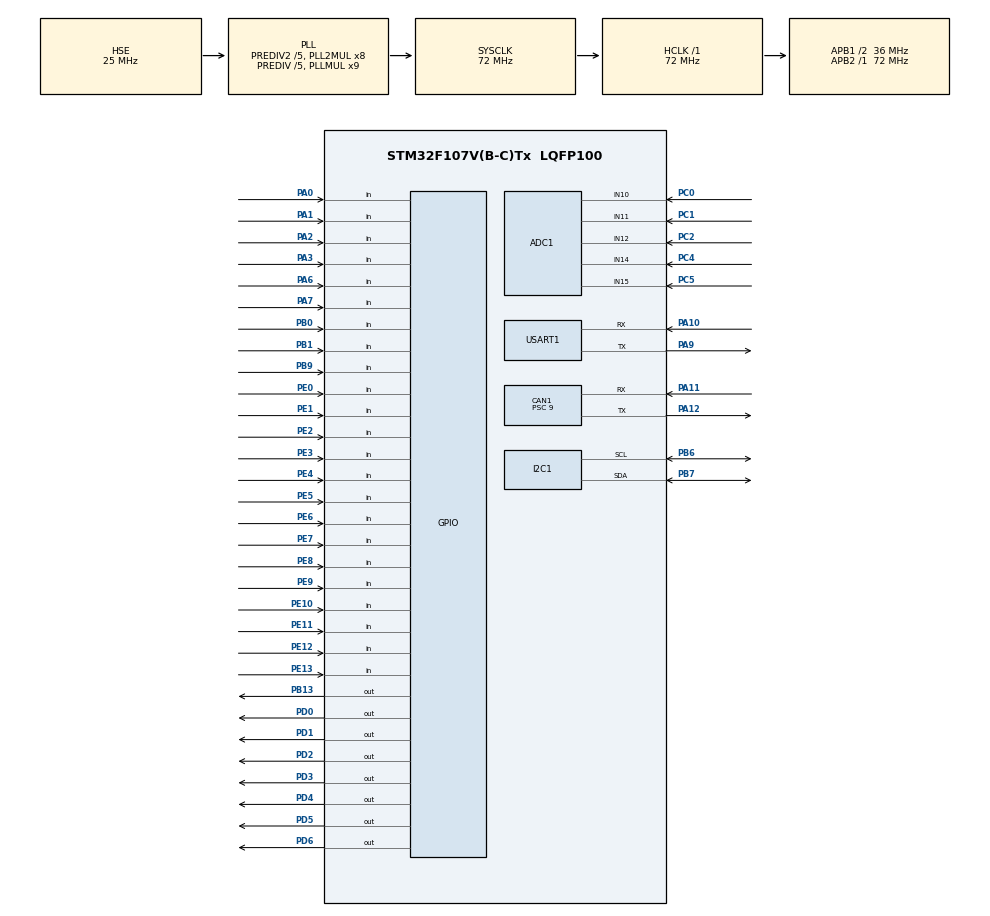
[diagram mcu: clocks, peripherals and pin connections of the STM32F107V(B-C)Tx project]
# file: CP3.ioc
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ADC1.Channel-0\#ChannelRegularConversion=ADC_CHANNEL_10
ADC1.Channel-2\#ChannelRegularConversion=ADC_CHANNEL_11
ADC1.Channel-3\#ChannelRegularConversion=ADC_CHANNEL_12
ADC1.Channel-4\#ChannelRegularConversion=ADC_CHANNEL_14
ADC1.Channel-5\#ChannelRegularConversion=ADC_CHANNEL_15
ADC1.ContinuousConvMode=ENABLE
ADC1.DiscontinuousConvMode=DISABLE
ADC1.InjNumberOfConversion=0
ADC1.NbrOfConversion=5
ADC1.NbrOfConversionFlag=1
ADC1.Rank-0\#ChannelRegularConversion=1
ADC1.Rank-2\#ChannelRegularConversion=2
ADC1.Rank-3\#ChannelRegularConversion=3
ADC1.Rank-4\#ChannelRegularConversion=4
ADC1.Rank-5\#ChannelRegularConversion=5
ADC1.SamplingTime-0\#ChannelRegularConversion=ADC_SAMPLETIME_55CYCLES_5
ADC1.SamplingTime-2\#ChannelRegularConversion=ADC_SAMPLETIME_55CYCLES_5
ADC1.SamplingTime-3\#ChannelRegularConversion=ADC_SAMPLETIME_55CYCLES_5
ADC1.SamplingTime-4\#ChannelRegularConversion=ADC_SAMPLETIME_55CYCLES_5
ADC1.SamplingTime-5\#ChannelRegularConversion=ADC_SAMPLETIME_55CYCLES_5
ADC1.master=1
CAN1.BS1=CAN_BS1_7TQ
CAN1.BS2=CAN_BS2_8TQ
CAN1.CalculateTimeBit=4000
CAN1.CalculateTimeQuantum=250.0
CAN1.NART=ENABLE
CAN1.Prescaler=9
Dma.ADC1.0.Direction=DMA_PERIPH_TO_MEMORY
Dma.ADC1.0.Instance=DMA1_Channel1
Dma.ADC1.0.MemDataAlignment=DMA_MDATAALIGN_HALFWORD
Dma.ADC1.0.MemInc=DMA_MINC_ENABLE
Dma.ADC1.0.Mode=DMA_CIRCULAR
Dma.ADC1.0.PeriphDataAlignment=DMA_PDATAALIGN_HALFWORD
Dma.ADC1.0.PeriphInc=DMA_PINC_DISABLE
Dma.ADC1.0.Priority=DMA_PRIORITY_HIGH
Dma.Request0=ADC1
FREERTOS.Tasks01=defaultTask,0,64,StartDefaultTask,Default,NULL,Dynamic,NULL,NULL;Task_CAN,3,128,CanTask,Default,NULL,Dynamic,NULL,NULL;Task_FeedDog,0,64,FeedDogTask,Default,NULL,Dynamic,NULL,NULL;Task_DataCol,3,128,DataCollectionTask,Default,NULL,Dynamic,NULL,NULL;Task_AreaCal,3,128,AreaCalTask,Default,NULL,Dynamic,NULL,NULL;Tack_WalkSpeedC,3,128,WalkSpeedControlTask,Default,NULL,Dynamic,NULL,NULL;Task_HeadSpeedC,3,128,HeadSpeedControlTask,Default,NULL,Dynamic,NULL,NULL
FREERTOS.configMINIMAL_STACK_SIZE=64
FREERTOS.configTOTAL_HEAP_SIZE=8192
FREERTOS.configUSE_TIMERS=0
IWDG.Prescaler=IWDG_PRESCALER_64
IWDG.Reload=500
Mcu.Family=STM32F1
Mcu.Name=STM32F107V(B-C)Tx
Mcu.Package=LQFP100
NVIC.CAN1_RX0_IRQn=true\:5\:0\:false\:false\:true\:true\:true\:true
NVIC.DMA1_Channel1_IRQn=true\:5\:0\:false\:false\:true\:true\:false\:true
NVIC.PriorityGroup=NVIC_PRIORITYGROUP_4
NVIC.TIM1_UP_IRQn=true\:0\:0\:false\:false\:true\:false\:false\:true
NVIC.TIM4_IRQn=true\:5\:0\:false\:false\:true\:true\:true\:true
NVIC.TimeBase=TIM1_UP_IRQn
NVIC.TimeBaseIP=TIM1
NVIC.USART1_IRQn=true\:5\:0\:false\:false\:true\:true\:true\:true
OSC_IN.Mode=HSE-External-Oscillator
OSC_IN.Signal=RCC_OSC_IN
OSC_OUT.Mode=HSE-External-Oscillator
OSC_OUT.Signal=RCC_OSC_OUT
PA0-WKUP.Signal=GPIO_Input
PA1.Signal=GPIO_Input
PA10.GPIO_PuPd=GPIO_PULLDOWN
PA10.Mode=Asynchronous
PA10.Signal=USART1_RX
PA11.Mode=Master
PA11.Signal=CAN1_RX
PA12.Mode=Master
PA12.Signal=CAN1_TX
PA13.Mode=Serial_Wire
PA13.Signal=SYS_JTMS-SWDIO
PA14.Mode=Serial_Wire
PA14.Signal=SYS_JTCK-SWCLK
PA2.Signal=GPIO_Input
PA3.Signal=GPIO_Input
PA6.Signal=GPIO_Input
PA7.Signal=GPIO_Input
PA9.Mode=Asynchronous
PA9.Signal=USART1_TX
PB0.Signal=GPIO_Input
PB1.Signal=GPIO_Input
PB13.GPIO_Speed=GPIO_SPEED_FREQ_HIGH
PB13.PinState=GPIO_PIN_RESET
PB13.Signal=GPIO_Output
PB6.Mode=I2C
PB6.Signal=I2C1_SCL
PB7.Mode=I2C
PB7.Signal=I2C1_SDA
PB9.Signal=GPIO_Input
PC0.Signal=ADCx_IN10
PC1.Signal=ADCx_IN11
PC2.Signal=ADCx_IN12
PC4.Signal=ADCx_IN14
PC5.Signal=ADCx_IN15
PD0.GPIO_PuPd=GPIO_PULLDOWN
PD0.GPIO_Speed=GPIO_SPEED_FREQ_HIGH
PD0.Signal=GPIO_Output
PD1.GPIO_PuPd=GPIO_PULLDOWN
PD1.GPIO_Speed=GPIO_SPEED_FREQ_HIGH
PD1.Signal=GPIO_Output
PD2.GPIO_PuPd=GPIO_PULLDOWN
PD2.GPIO_Speed=GPIO_SPEED_FREQ_HIGH
PD2.Signal=GPIO_Output
PD3.GPIO_PuPd=GPIO_PULLDOWN
PD3.Signal=GPIO_Output
PD4.GPIO_PuPd=GPIO_PULLDOWN
PD4.GPIO_Speed=GPIO_SPEED_FREQ_HIGH
PD4.Signal=GPIO_Output
PD5.GPIO_PuPd=GPIO_PULLDOWN
PD5.GPIO_Speed=GPIO_SPEED_FREQ_HIGH
PD5.Signal=GPIO_Output
PD6.GPIO_PuPd=GPIO_PULLDOWN
PD6.GPIO_Speed=GPIO_SPEED_FREQ_HIGH
PD6.Signal=GPIO_Output
PE0.GPIO_PuPd=GPIO_NOPULL
PE0.Signal=GPIO_Input
PE1.GPIO_PuPd=GPIO_NOPULL
PE1.Signal=GPIO_Input
PE10.Signal=GPIO_Input
PE11.Signal=GPIO_Input
PE12.Signal=GPIO_Input
PE13.Signal=GPIO_Input
PE2.GPIO_PuPd=GPIO_NOPULL
PE2.Signal=GPIO_Input
PE3.GPIO_PuPd=GPIO_NOPULL
PE3.Signal=GPIO_Input
PE4.Signal=GPIO_Input
PE5.Signal=GPIO_Input
PE6.Signal=GPIO_Input
PE7.Signal=GPIO_Input
PE8.Signal=GPIO_Input
PE9.Signal=GPIO_Input
ProjectManager.HeapSize=0x200
ProjectManager.StackSize=0x400
ProjectManager.TargetToolchain=MDK-ARM V5
RCC.ADCPresc=RCC_ADCPCLK2_DIV6
RCC.AHBFreq_Value=72000000
RCC.APB1CLKDivider=RCC_HCLK_DIV2
RCC.APB1Freq_Value=36000000
RCC.APB1TimFreq_Value=72000000
RCC.APB2Freq_Value=72000000
RCC.APB2TimFreq_Value=72000000
RCC.HCLKFreq_Value=72000000
RCC.HSEDivPLL=RCC_HSE_PREDIV_DIV5
RCC.HSE_VALUE=25000000
RCC.PLLMUL=RCC_PLL_MUL9
RCC.PLLSourceVirtual=RCC_PLLSOURCE_HSE
RCC.Prediv1Source=RCC_PREDIV1_SOURCE_PLL2
RCC.Prediv2=RCC_HSE_PREDIV2_DIV5
RCC.SYSCLKFreq_VALUE=72000000
RCC.SYSCLKSource=RCC_SYSCLKSOURCE_PLLCLK
RCC.USBFreq_Value=48000000
SH.ADCx_IN10.0=ADC1_IN10,IN10
SH.ADCx_IN11.0=ADC1_IN11,IN11
SH.ADCx_IN12.0=ADC1_IN12,IN12
SH.ADCx_IN14.0=ADC1_IN14,IN14
SH.ADCx_IN15.0=ADC1_IN15,IN15
TIM4.AutoReloadPreload=TIM_AUTORELOAD_PRELOAD_ENABLE
TIM4.Period=50-1
TIM4.Prescaler=72-1
USART1.VirtualMode=VM_ASYNC
VP_FREERTOS_VS_CMSIS_V1.Mode=CMSIS_V1
VP_IWDG_VS_IWDG.Mode=IWDG_Activate
VP_SYS_VS_tim1.Mode=TIM1
VP_TIM4_VS_ClockSourceINT.Mode=Internal
board=custom

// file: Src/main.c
/* USER CODE BEGIN Header */
/**
  ******************************************************************************
  * @file           : main.c
  * @brief          : Main program body
  ******************************************************************************
  * @attention
  *
  * <h2><center>&copy; Copyright (c) 2020 STMicroelectronics.
  * All rights reserved.</center></h2>
  *
  * This software component is licensed by ST under Ultimate Liberty license
  * SLA0044, the "License"; You may not use this file except in compliance with
  * the License. You may obtain a copy of the License at:
  *                             www.st.com/SLA0044
  *
  ******************************************************************************
  */
/* USER CODE END Header */

#include "main.h"
#include "cmsis_os.h"
#include "adc.h"
#include "can.h"
#include "dma.h"
#include "i2c.h"
#include "iwdg.h"
#include "tim.h"
#include "usart.h"
#include "gpio.h"

/* USER CODE BEGIN Includes */
//#include "delay.h"
#include "24CXX.h"
#include "DataCollection.h"
/* USER CODE END Includes */

void SystemClock_Config(void);
void MX_FREERTOS_Init(void);

/* USER CODE BEGIN 0 */
void InitEEPROM(void)
{
//	AT24CXX_WriteLenByte(0x00,BackTransmissionRatio_Can,2);
//	AT24CXX_WriteLenByte(0x04,FrontTransmissionRatio_Can,2);
//	AT24CXX_WriteLenByte(0x08,Coeff_Land_Can, 2);
//	AT24CXX_WriteLenByte(0x0C,LHQ_ratio_Can, 2);
//	AT24CXX_WriteLenByte(0x10,XZ_length_ratio_Can, 2);
//	AT24CXX_WriteLenByte(0x14,XZZX_Can, 2);
//	AT24CXX_WriteLenByte(0x18,MachineID, 2);
//	AT24CXX_WriteLenByte(0x1C,Coeff_head_Locked_Can, 2);
//	AT24CXX_WriteLenByte(0x20,InGearN, 2);
//	AT24CXX_WriteLenByte(0x24,FGearN, 2);
//	AT24CXX_WriteLenByte(0x28,BGearN, 2);
//	AT24CXX_WriteLenByte(0x2C,CTS_SET1, 2);
//	AT24CXX_WriteLenByte(0x30,CTS_SET2, 2);
//	AT24CXX_WriteLenByte(0x34,CTS_SET3, 2);
//	AT24CXX_WriteLenByte(0x38,CTS_SET4, 2);
//	AT24CXX_WriteLenByte(0x3C,CTS_SET5, 2);
//	AT24CXX_WriteLenByte(0x40,CTS_SET6, 2);
//	AT24CXX_WriteLenByte(0x44,OilTempAlarm, 2);
//	AT24CXX_WriteLenByte(0x80, HarvestedLand, 4);
//	AT24CXX_WriteLenByte(0x84, TotalHarvestedLand, 4);
}
void ReadFromEEPROM(void)
{
//	BackTransmissionRatio_Can = AT24CXX_ReadLenByte(0x00, 2);
//	FrontTransmissionRatio_Can = AT24CXX_ReadLenByte(0x04, 2);
//	Coeff_Land_Can = AT24CXX_ReadLenByte(0x08, 2);
//	LHQ_ratio_Can = AT24CXX_ReadLenByte(0x0C, 2);
//	XZ_length_ratio_Can = AT24CXX_ReadLenByte(0x10, 2);
//	XZZX_Can = AT24CXX_ReadLenByte(0x14, 2);
//	MachineID = AT24CXX_ReadLenByte(0x18, 2);
//	Coeff_head_Locked_Can = AT24CXX_ReadLenByte(0x1C, 2);
//	InGearN = AT24CXX_ReadLenByte(0x20, 2);
//	FGearN = AT24CXX_ReadLenByte(0x24, 2);
//	BGearN = AT24CXX_ReadLenByte(0x28, 2);
//	CTS_SET1 = AT24CXX_ReadLenByte(0x2C, 2);
//	CTS_SET2 = AT24CXX_ReadLenByte(0x30, 2);
//	CTS_SET3 = AT24CXX_ReadLenByte(0x34, 2);
//	CTS_SET4 = AT24CXX_ReadLenByte(0x38, 2);
//	CTS_SET5 = AT24CXX_ReadLenByte(0x3C, 2);
//	CTS_SET6 = AT24CXX_ReadLenByte(0x40, 2);
//	OilTempAlarm = AT24CXX_ReadLenByte(0x44, 2);
//	HarvestedLand = AT24CXX_ReadLenByte(0x80, 4);
//	TotalHarvestedLand = AT24CXX_ReadLenByte(0x84, 4);
}
void EEPROM_DATA_Init(void)
{
	uint8_t temp;
	uint8_t dat=0x55;
	uint8_t ret;

	ret=AT24CXX_Check();
	if(ret==0)
		printf("AT24CXX_Check  success!\r\n");
	else
		printf("AT24CXX_Check  fail!\r\n");

	At24c02_Read_Byte(0xF0,&temp);
printf("temp=%x\r\n",temp);
	if(temp!=0X55)
	{
		printf("New board, Init EEPROM!\r\n");
		At24c02_Write_Byte(0xF0,&dat);
		osDelay(10);
		At24c02_Read_Byte(0xF0,&temp);
printf("temp=%x\r\n",temp);
		InitEEPROM();
	}
//	else
//	{
//		printf("It is not a New board!\r\n");
//	}

//	ReadFromEEPROM();
		dat=0x12;
		At24c02_Write_Byte(0x14,&dat);
	osDelay(1);
	At24c02_Read_Byte(0x14,&temp);
		BackTransmissionRatio_Can = temp;
	printf("BackTransmissionRatio_Can=%d,temp=%d\r\n",BackTransmissionRatio_Can,temp);
		//	if(eeprom_flag != 0x55)
//	{
//		eeprom_flag = 0x55;
//		AT24CXX_WriteLenByte(0xF0, eeprom_flag, 4);
//		InitEEPROM();
//	}
//	else
//	{
//		ReadFromEEPROM();
//	}
}
void InitParameter(void)
{
	cp3_parameter.Fan_speed = 0;
	cp3_parameter.Fan_speedB = 0;
	cp3_parameter.Forward_speed = 0;
	cp3_parameter.HeadPumpInSpeed = 0;
	cp3_parameter.HeadPumpBSpeed1 = 0;
	cp3_parameter.HeadPumpBSpeed2 = 0;
	cp3_parameter.HeadPumpBSpeed3 = 0;
	cp3_parameter.HeadPumpFSpeed1 = 0;
	cp3_parameter.HeadPumpFSpeed2 = 0;
	cp3_parameter.HeadPumpFSpeed3 = 0;
	cp3_parameter.ControllerHandle = 0;
	cp3_parameter.HeadPump = 0;
	cp3_parameter.TravelPump = 0;
	cp3_parameter.Water_Pres = 0;
	cp3_parameter.Median_flag=1;
	cp3_parameter.LHQ1Flag = 1;
	cp3_parameter.LHQ2Flag = 1;
	cp3_parameter.LHQ3Flag = 1;
	cp3_parameter.LHQ1Flag1 = 1;
	cp3_parameter.LHQ2Flag2 = 1;
	cp3_parameter.LHQ3Flag3 = 1;
	cp3_parameter.HeadAuto = 1;
	cp3_parameter.HeadCombinne = 1;
	p_speed_variable.P_CTIN_Speed_Counter=0;
	p_speed_variable.P_CTIN_Speed_Value=0;
	p_speed_variable.CTIN_SpeedCounter=0;
	p_speed_variable.CTIN_SpeedPulse=0;

	p_speed_variable.P_CTF1_Speed_Counter=0;
	p_speed_variable.P_CTF1_Speed_Value=0;
	p_speed_variable.CTF1_SpeedCounter=0;
	p_speed_variable.CTF1_SpeedPulse=0;

	p_speed_variable.P_CTB1_Speed_Counter=0;
	p_speed_variable.P_CTB1_Speed_Value=0;
	p_speed_variable.CTB1_SpeedCounter=0;
	p_speed_variable.CTB1_SpeedPulse=0;

	p_speed_variable.P_CTF2_Speed_Counter=0;
	p_speed_variable.P_CTF2_Speed_Value=0;
	p_speed_variable.CTF2_SpeedCounter=0;
	p_speed_variable.CTF2_SpeedPulse=0;

	p_speed_variable.P_CTB2_Speed_Counter=0;
	p_speed_variable.P_CTB2_Speed_Value=0;
	p_speed_variable.CTB2_SpeedCounter=0;
	p_speed_variable.CTB2_SpeedPulse=0;

	p_speed_variable.P_CTF3_Speed_Counter=0;
	p_speed_variable.P_CTF3_Speed_Value=0;
	p_speed_variable.CTF3_SpeedCounter=0;
	p_speed_variable.CTF3_SpeedPulse=0;

	p_speed_variable.P_CTB3_Speed_Counter=0;
	p_speed_variable.P_CTB3_Speed_Value=0;
	p_speed_variable.CTB3_SpeedCounter=0;
	p_speed_variable.CTB3_SpeedPulse=0;

	p_speed_variable.P_Fan_Speed_Counter=0;
	p_speed_variable.P_Fan_Speed_Value=0;
	p_speed_variable.Fan_SpeedCounter=0;
	p_speed_variable.Fan_SpeedPulse=0;

	p_speed_variable.P_Walk_Speed_Counter=0;
	p_speed_variable.P_Walk_Speed_Value=0;
	p_speed_variable.Walk_SpeedCounter=0;
	p_speed_variable.Walk_SpeedPulse=0;

  AlarmStatusDate0=0x00; AlarmStatusDate1=0x00;
  AlarmStatusDate2=0x00; AlarmStatusDate3=0x00;

  WarnFlag=0x00;
  Water_Sensor_Break=0x00;
  Water_Sensor_Short=0x00;

	Water_Sensor_Break=0x00;
  Water_Sensor_Short=0x00;

	MedianConsistency_Con(1);

}
/* USER CODE END 0 */

int main(void)
{

  /* MCU Configuration--------------------------------------------------------*/

  /* Reset of all peripherals, Initializes the Flash interface and the Systick. */
  HAL_Init();

  /* Configure the system clock */
  SystemClock_Config();

  /* Initialize all configured peripherals */
  MX_GPIO_Init();
  MX_DMA_Init();
  MX_CAN1_Init();
  MX_ADC1_Init();
  MX_TIM4_Init();
  MX_USART1_UART_Init();
  MX_IWDG_Init();
  MX_I2C1_Init();
  /* USER CODE BEGIN 2 */
	printf("Hello world!\r\n");
	CAN_User_Init( &hcan1 );
//	I2C1_Init();
//	delay_init();
	InitParameter();

	EEPROM_DATA_Init();

	HAL_ADC_Start_DMA(&hadc1, (uint32_t*)&AD_Value, MAX_AD_NUM);
	HAL_TIM_Base_Start_IT(&htim4);
  /* USER CODE END 2 */

  /* Call init function for freertos objects (in freertos.c) */
  MX_FREERTOS_Init();

  /* Start scheduler */
  osKernelStart();

  /* We should never get here as control is now taken by the scheduler */

  /* Infinite loop */
  while (1)
  {

  }
}

void SystemClock_Config(void)
{
  RCC_OscInitTypeDef RCC_OscInitStruct = {0};
  RCC_ClkInitTypeDef RCC_ClkInitStruct = {0};
  RCC_PeriphCLKInitTypeDef PeriphClkInit = {0};

  /** Initializes the CPU, AHB and APB busses clocks
  */
  RCC_OscInitStruct.OscillatorType = RCC_OSCILLATORTYPE_LSI|RCC_OSCILLATORTYPE_HSE;
  RCC_OscInitStruct.HSEState = RCC_HSE_ON;
  RCC_OscInitStruct.HSEPredivValue = RCC_HSE_PREDIV_DIV5;
  RCC_OscInitStruct.HSIState = RCC_HSI_ON;
  RCC_OscInitStruct.LSIState = RCC_LSI_ON;
  RCC_OscInitStruct.Prediv1Source = RCC_PREDIV1_SOURCE_PLL2;
  RCC_OscInitStruct.PLL.PLLState = RCC_PLL_ON;
  RCC_OscInitStruct.PLL.PLLSource = RCC_PLLSOURCE_HSE;
  RCC_OscInitStruct.PLL.PLLMUL = RCC_PLL_MUL9;
  RCC_OscInitStruct.PLL2.PLL2State = RCC_PLL2_ON;
  RCC_OscInitStruct.PLL2.PLL2MUL = RCC_PLL2_MUL8;
  RCC_OscInitStruct.PLL2.HSEPrediv2Value = RCC_HSE_PREDIV2_DIV5;
  if (HAL_RCC_OscConfig(&RCC_OscInitStruct) != HAL_OK)
  {
    Error_Handler();
  }
  /** Initializes the CPU, AHB and APB busses clocks
  */
  RCC_ClkInitStruct.ClockType = RCC_CLOCKTYPE_HCLK|RCC_CLOCKTYPE_SYSCLK
                              |RCC_CLOCKTYPE_PCLK1|RCC_CLOCKTYPE_PCLK2;
  RCC_ClkInitStruct.SYSCLKSource = RCC_SYSCLKSOURCE_PLLCLK;
  RCC_ClkInitStruct.AHBCLKDivider = RCC_SYSCLK_DIV1;
  RCC_ClkInitStruct.APB1CLKDivider = RCC_HCLK_DIV2;
  RCC_ClkInitStruct.APB2CLKDivider = RCC_HCLK_DIV1;

  if (HAL_RCC_ClockConfig(&RCC_ClkInitStruct, FLASH_LATENCY_2) != HAL_OK)
  {
    Error_Handler();
  }
  PeriphClkInit.PeriphClockSelection = RCC_PERIPHCLK_ADC;
  PeriphClkInit.AdcClockSelection = RCC_ADCPCLK2_DIV6;
  if (HAL_RCCEx_PeriphCLKConfig(&PeriphClkInit) != HAL_OK)
  {
    Error_Handler();
  }
  /** Configure the Systick interrupt time
  */
  __HAL_RCC_PLLI2S_ENABLE();
}

void HAL_TIM_PeriodElapsedCallback(TIM_HandleTypeDef *htim)
{
  if (htim->Instance == TIM1) {
    HAL_IncTick();
  }
  /* USER CODE BEGIN Callback 1 */
	if (htim->Instance == TIM4){//50us

		GetP_CTINSpeed();
		GetP_CTF1Speed();
		GetP_CTB1Speed();
		GetP_CTF2Speed();
		GetP_CTB2Speed();
		GetP_CTF3Speed();
		GetP_CTB3Speed();
		GetP_FanSpeed();
		GetP_WalkSpeed();
	}

  /* USER CODE END Callback 1 */
}

void Error_Handler(void)
{
}

/************************ (C) COPYRIGHT STMicroelectronics *****END OF FILE****/

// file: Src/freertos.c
/* USER CODE BEGIN Header */
/**
  ******************************************************************************
  * File Name          : freertos.c
  * Description        : Code for freertos applications
  ******************************************************************************
  * @attention
  *
  * <h2><center>&copy; Copyright (c) 2020 STMicroelectronics.
  * All rights reserved.</center></h2>
  *
  * This software component is licensed by ST under Ultimate Liberty license
  * SLA0044, the "License"; You may not use this file except in compliance with
  * the License. You may obtain a copy of the License at:
  *                             www.st.com/SLA0044
  *
  ******************************************************************************
  */
/* USER CODE END Header */

#include "FreeRTOS.h"
#include "task.h"
#include "main.h"
#include "cmsis_os.h"

/* USER CODE BEGIN Includes */
#include "user_config.h"
#include "can.h"
#include "iwdg.h"
#include "DataCollection.h"
#include "adc.h"
/* USER CODE END Includes */

osThreadId defaultTaskHandle;
osThreadId Task_CANHandle;
osThreadId Task_FeedDogHandle;
osThreadId Task_DataColHandle;
osThreadId Task_AreaCalHandle;
osThreadId Tack_WalkSpeedCHandle;
osThreadId Task_HeadSpeedCHandle;

void StartDefaultTask(void const * argument);
void CanTask(void const * argument);
void FeedDogTask(void const * argument);
void DataCollectionTask(void const * argument);
void AreaCalTask(void const * argument);
void WalkSpeedControlTask(void const * argument);
void HeadSpeedControlTask(void const * argument);

void MX_FREERTOS_Init(void); /* (MISRA C 2004 rule 8.1) */

void MX_FREERTOS_Init(void) {

  /* Create the thread(s) */
  /* definition and creation of defaultTask */
  osThreadDef(defaultTask, StartDefaultTask, osPriorityNormal, 0, 64);
  defaultTaskHandle = osThreadCreate(osThread(defaultTask), NULL);

  /* definition and creation of Task_CAN */
  osThreadDef(Task_CAN, CanTask, osPriorityRealtime, 0, 128);
  Task_CANHandle = osThreadCreate(osThread(Task_CAN), NULL);

  /* definition and creation of Task_FeedDog */
  osThreadDef(Task_FeedDog, FeedDogTask, osPriorityNormal, 0, 64);
  Task_FeedDogHandle = osThreadCreate(osThread(Task_FeedDog), NULL);

  /* definition and creation of Task_DataCol */
  osThreadDef(Task_DataCol, DataCollectionTask, osPriorityRealtime, 0, 128);
  Task_DataColHandle = osThreadCreate(osThread(Task_DataCol), NULL);

  /* definition and creation of Task_AreaCal */
  osThreadDef(Task_AreaCal, AreaCalTask, osPriorityRealtime, 0, 128);
  Task_AreaCalHandle = osThreadCreate(osThread(Task_AreaCal), NULL);

  /* definition and creation of Tack_WalkSpeedC */
  osThreadDef(Tack_WalkSpeedC, WalkSpeedControlTask, osPriorityRealtime, 0, 128);
  Tack_WalkSpeedCHandle = osThreadCreate(osThread(Tack_WalkSpeedC), NULL);

  /* definition and creation of Task_HeadSpeedC */
  osThreadDef(Task_HeadSpeedC, HeadSpeedControlTask, osPriorityRealtime, 0, 128);
  Task_HeadSpeedCHandle = osThreadCreate(osThread(Task_HeadSpeedC), NULL);

}

/* USER CODE BEGIN Header_StartDefaultTask */
/**
  * @brief  Function implementing the defaultTask thread.
  * @param  argument: Not used
  * @retval None
  */
uint8_t eeprom_write_flag2=0;
/* USER CODE END Header_StartDefaultTask */
void StartDefaultTask(void const * argument)
{

  /* USER CODE BEGIN StartDefaultTask */
  /* Infinite loop */
  for(;;)
  {
		if(eeprom_write_flag2==1){
//				AT24CXX_WriteLenByte(0x00,BackTransmissionRatio_Can,2);
//				AT24CXX_WriteLenByte(0x04,FrontTransmissionRatio_Can,2);
//				AT24CXX_WriteLenByte(0x0C,LHQ_ratio_Can,2);
//				AT24CXX_WriteLenByte(0x44,OilTempAlarm,2);
			eeprom_write_flag2=0;
		}
		osDelay(10);
  }
  /* USER CODE END StartDefaultTask */
}

void CanTask(void const * argument)
{
  /* USER CODE BEGIN CanTask */
	uint16_t Can_cnt = 0;
  /* Infinite loop */
  for(;;)
  {
		Can_cnt++;
		osDelay(100);
		CAN_Transmit1();
		osDelay(10);
		CAN_Transmit2();
		osDelay(10);
		CAN_Transmit3();
		osDelay(10);
		CAN_Transmit4();
		osDelay(10);
		CAN_Transmit5();
		osDelay(10);
		CAN_Transmit6();
		osDelay(50);
		if(Can_cnt > 5)
		{
			E0_HeartBeat= ~E0_HeartBeat; //1s心跳
			Can_cnt = 0;
		}
  }
  /* USER CODE END CanTask */
}

void FeedDogTask(void const * argument)
{
  /* USER CODE BEGIN FeedDogTask */
  /* Infinite loop */
  for(;;)
  {
		HAL_IWDG_Refresh(&hiwdg);
		HAL_GPIO_TogglePin(GPIOB, GPIO_PIN_13);
    osDelay(500);
  }
  /* USER CODE END FeedDogTask */
}

void DataCollectionTask(void const * argument)
{
  /* USER CODE BEGIN DataCollectionTask */
	uint16_t DataCollectionTask_cnt = 0;
	float BackTransmissionRatio, FrontTransmissionRatio;
  /* Infinite loop */
  for(;;)
  {
		DataCollectionTask_cnt++;
		sum_Water_Pres+=AD_Value[0];
		sum_OilTemp+=AD_Value[1];
		sum_ControllerHandle+=AD_Value[2];
		sum_TravelPump+=AD_Value[3];
		sum_HeadPump+=AD_Value[4];
		if(DataCollectionTask_cnt%5==0)//50ms  采集模拟量，开关量
		{
			ReadAlarmStatus();
			ReadADDatum();
			sum_Water_Pres=0;
			sum_OilTemp=0;
			sum_ControllerHandle=0;
			sum_TravelPump=0;
			sum_HeadPump=0;
		}

		if(DataCollectionTask_cnt%20==0)//200ms  计算风机转速，采头转速并做采头转速报警判断
		{
			FJS_Disp=(uint32_t)((p_speed_variable.Fan_SpeedCounter*60)/18);	 /*FJS=代表每秒钟的脉冲数，float，FJS_Disp是调整后的风机转速/分钟，按18个齿 */
			p_speed_variable.Fan_SpeedCounter=0;
			if(((1600<=FJS_Disp)&&(FJS_Disp<=3500))||(FJS_Disp>=4500))
				FJ_Alarm=1;//风机,大于600和小于3000，则状态报警
			else
				FJ_Alarm=0;

			LHQ_ratio = 0.01*LHQ_ratio_Can;
			CTS_Disp = (uint16_t)((p_speed_variable.CTIN_SpeedCounter*60)/InGearN); //rpm
			p_speed_variable.CTIN_SpeedCounter=0;

			CTFS_Disp1=(uint16_t)((p_speed_variable.CTF1_SpeedCounter*60)/FGearN);//rpm
			p_speed_variable.CTF1_SpeedCounter=0;
			CTBS_Disp1=(uint16_t)((p_speed_variable.CTB1_SpeedCounter*60)/BGearN);//rpm
			p_speed_variable.CTB1_SpeedCounter=0;

			BackTransmissionRatio = 0.0001 * BackTransmissionRatio_Can;
			FrontTransmissionRatio = 0.0001 * FrontTransmissionRatio_Can;
			if((CTS_Disp>500)&&((CTFS_Disp1/(CTS_Disp* FrontTransmissionRatio))< LHQ_ratio  || (CTBS_Disp1/(CTS_Disp * BackTransmissionRatio))< LHQ_ratio ))//采头转速大于500rpm,就行报警判断
				cp3_parameter.LHQ1Flag1 = 0;          //没有传感器接入  LHQ1Flag1 为0报警
			else
				cp3_parameter.LHQ1Flag1 = 1; //正常

			CTFS_Disp2=(uint16_t)((p_speed_variable.CTF2_SpeedCounter*60)/FGearN);//rpm
			p_speed_variable.CTF2_SpeedCounter=0;
			CTBS_Disp2=(uint16_t)((p_speed_variable.CTB2_SpeedCounter*60)/BGearN);//rpm
			p_speed_variable.CTB2_SpeedCounter=0;

			if((CTS_Disp>500)&&((CTFS_Disp2/(CTS_Disp* FrontTransmissionRatio))< LHQ_ratio  || (CTBS_Disp2/(CTS_Disp * BackTransmissionRatio))< LHQ_ratio ))//采头转速大于500rpm,就行报警判断
				cp3_parameter.LHQ2Flag2 = 0;          //没有传感器接入  LHQ2Flag2 为0报警
			else
				cp3_parameter.LHQ2Flag2 = 1; //正常

			CTFS_Disp3=(uint16_t)((p_speed_variable.CTF3_SpeedCounter*60)/FGearN);//rpm
			p_speed_variable.CTF3_SpeedCounter=0;
			CTBS_Disp3=(uint16_t)((p_speed_variable.CTB3_SpeedCounter*60)/BGearN);//rpm
			p_speed_variable.CTB3_SpeedCounter=0;

			if((CTS_Disp>500)&&((CTFS_Disp3/(CTS_Disp* FrontTransmissionRatio))< LHQ_ratio  || (CTBS_Disp3/(CTS_Disp * BackTransmissionRatio))< LHQ_ratio ))//采头转速大于500rpm,就行报警判断
				cp3_parameter.LHQ3Flag3 = 0;          //没有传感器接入  LHQ3Flag3 为0报警
			else
				cp3_parameter.LHQ3Flag3 = 1; //正常

			AlarmStatusDate4= cp3_parameter.LHQ1Flag1+(cp3_parameter.LHQ2Flag2<<1)+(cp3_parameter.LHQ3Flag3<<2);
		}
		osDelay(10);//10ms

		if(DataCollectionTask_cnt>=20)
			DataCollectionTask_cnt=0;

  }
  /* USER CODE END DataCollectionTask */
}

void AreaCalTask(void const * argument)
{
  /* USER CODE BEGIN AreaCalTask */
	uint16_t AreaCalTask_cnt1 = 0;
	uint16_t speed_cnt = 0;
	float DeltaLand=0.0;
	float XZ_speed = 0.0;
  /* Infinite loop */
  for(;;)
  {
		AreaCalTask_cnt1++;

		speed_cnt=p_speed_variable.Walk_SpeedCounter;//1s脉冲计数
		p_speed_variable.Walk_SpeedCounter=0;
		//计算行走速度
		XZ_speed=(float)(speed_cnt*0.034185888);
		XZS_Disp = (uint16_t)(10*XZ_speed);
		/*(uint32_t)(60.0*60.0*3.1416*1.635*Coeff_Walking_Speed*XZS*11.0/85.0/70.0/100.0);	 XZS=代表每秒钟的脉冲数，float，XZS_Disp 	//0.34168   *0.34185
															齿轮箱处取：XZS=调整系数*(脉冲数/传动比/齿数)*60*60*车轮直径*pi/1000,
															3行机齿数70，直径1.635m，传动比85:11；此处应该是0.034168，
															考虑到显示1位小数点，要乘以10 */
		if(XZ_speed < 0.1 || flag_Reverse == 1)
			CTS_set = 0;
		else if(XZ_speed >= 0.1 && XZ_speed < 2)
			CTS_set = CTS_SET1;
		else if(XZ_speed >= 2 && XZ_speed < 3)
			CTS_set = CTS_SET2;
		else if(XZ_speed >= 3 && XZ_speed < 4)
			CTS_set = CTS_SET3;
		else if(XZ_speed >= 4 && XZ_speed < 5)
			CTS_set = CTS_SET4;
		else if(XZ_speed >= 5 && XZ_speed < 6)
			CTS_set = CTS_SET5;
		else if(XZ_speed >= 6)
			CTS_set = CTS_SET6;

		if(CTS_Disp > 500 || cp3_parameter.Profile == 0)							 //仿形有效或者采头转速大于500rpm
		{
			//面积计算
			Coeff_Land = 0.01*Coeff_Land_Can;
			DeltaLand = Coeff_Land*speed_cnt*0.00001424*2.28;					   //计算每秒钟的增量（亩）	0.0015*(3.1416*1.635*11/85/70)
			HarvestedLand += (u32)(DeltaLand*100);		    //小计收获面积累加（按清零后的累加）
			TotalHarvestedLand += (u32)(DeltaLand*100); //总计收获面积累加
			DeltaLand=0.0;
			AreaCalTask_cnt1 = 0;
		}
		if(AreaCalTask_cnt1 > 30 && TotalHarvestedLand - TotalHarvestedLand_old > 0)//30s一次
		{
			AreaCalTask_cnt1 = 0;
			TotalHarvestedLand_old = TotalHarvestedLand;
//			AT24CXX_WriteLenByte(0x80,HarvestedLand,4);
//			AT24CXX_WriteLenByte(0x84,TotalHarvestedLand,4);
		}
    osDelay(1000);
  }
  /* USER CODE END AreaCalTask */
}

void WalkSpeedControlTask(void const * argument)
{
  /* USER CODE BEGIN WalkSpeedControlTask */
	uint16_t WalkSpeedControlTask_cnt = 0;
  /* Infinite loop */
  for(;;)
  {
		if(Flag_Median == 1 && cp3_parameter.Median != 1)
		{
			WalkSpeedControlTask_cnt++;
			if(WalkSpeedControlTask_cnt > 100)
			{
				MedianConsistency_Con(0);
			}
		}
		else
		{
			MedianConsistency_Con(1);
			WalkSpeedControlTask_cnt = 0;
		}

		TravelControl();
    osDelay(50);
  }
  /* USER CODE END WalkSpeedControlTask */
}

void HeadSpeedControlTask(void const * argument)
{
  /* USER CODE BEGIN HeadSpeedControlTask */
  /* Infinite loop */
  for(;;)
  {
		HeadControl();
    osDelay(200);
  }
  /* USER CODE END HeadSpeedControlTask */
}

/************************ (C) COPYRIGHT STMicroelectronics *****END OF FILE****/
